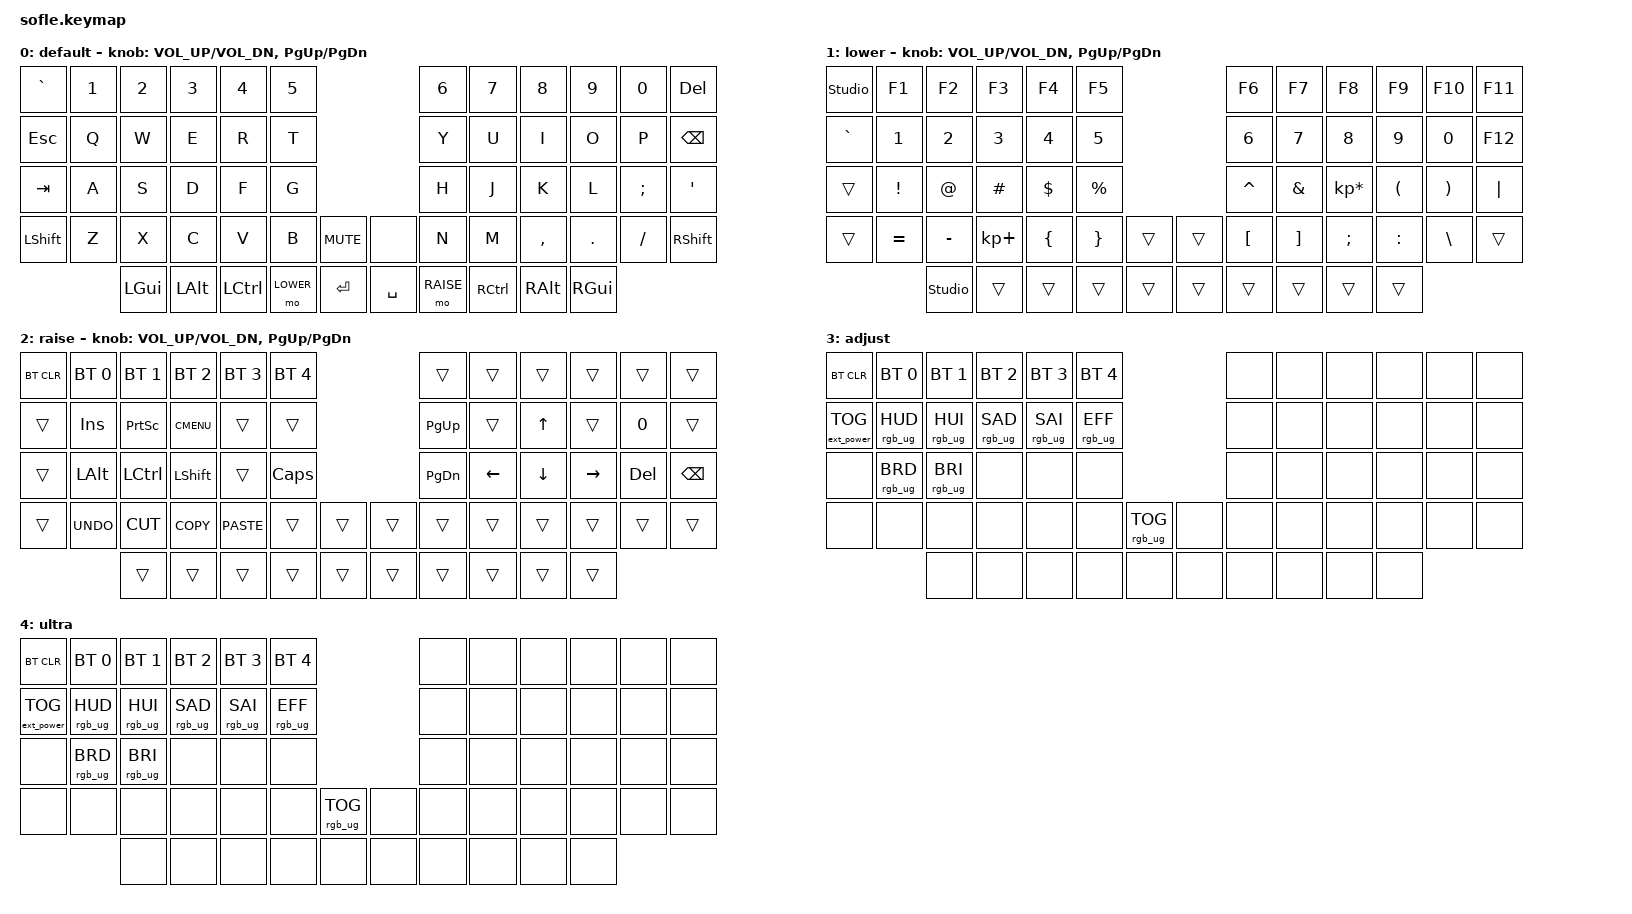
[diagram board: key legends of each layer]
/*
 * Copyright (c) 2020 The ZMK Contributors
 *
 * SPDX-License-Identifier: MIT
 */

#include <behaviors.dtsi>
#include <dt-bindings/zmk/bt.h>
#include <dt-bindings/zmk/ext_power.h>
#include <dt-bindings/zmk/keys.h>
#include <dt-bindings/zmk/rgb.h>
#include "zmk-helpers/helper.h"
#include "zmk-helpers/key-labels/sofle.h"

// Left-hand key positions (for use with hold-trigger-key-positions on right-hand HRMs)
#define KEYS_L LN0 LN1 LN2 LN3 LN4 LN5 LT0 LT1 LT2 LT3 LT4 LT5 LM0 LM1 LM2 LM3 LM4 LM5 LB0 LB1 LB2 LB3 LB4 LB5 LH0 LH1 LH2 LH3 LH4
// Right-hand key positions (for use with hold-trigger-key-positions on left-hand HRMs)
#define KEYS_R RN0 RN1 RN2 RN3 RN4 RN5 RT0 RT1 RT2 RT3 RT4 RT5 RM0 RM1 RM2 RM3 RM4 RM5 RB0 RB1 RB2 RB3 RB4 RB5 RH0 RH1 RH2 RH3 RH4

#define BASE 0
#define LOWER 1
#define RAISE 2
#define ADJUST 3
#define ULTRA 4


/ {
    // Activate ADJUST layer by pressing raise and lower

    conditional_layers {
        compatible = "zmk,conditional-layers";

        adjust_layer {
            if-layers = <LOWER RAISE>;
            then-layer = <ADJUST>;
        };
    };
  
    behaviors {
        hml: home_row_mod_left {
            compatible = "zmk,behavior-hold-tap";
            #binding-cells = <2>;
            flavor = "balanced";
            require-prior-idle-ms = <150>;
            tapping-term-ms = <280>;
            quick-tap-ms = <175>;
            bindings = <&kp>, <&kp>;
            hold-trigger-key-positions = <KEYS_R>; // List of keys on the right side of the keyboard
            hold-trigger-on-release;
        };
        hmr: home_row_mod_right {
            compatible = "zmk,behavior-hold-tap";
            #binding-cells = <2>;
            flavor = "balanced";
            require-prior-idle-ms = <150>;
            tapping-term-ms = <280>;
            quick-tap-ms = <175>;
            bindings = <&kp>, <&kp>;
            hold-trigger-key-positions = <KEYS_L>; // List of keys on the left side of the keyboard
            hold-trigger-on-release;
        };
    };
    keymap {
        compatible = "zmk,keymap";

        default_layer {
            label = "default";

            // ------------------------------------------------------------------------------------------------------------
            // |   `   |  1  |  2  |  3   |  4   |  5   |                   |  6   |  7    |  8    |  9   |   0   |       |
            // |  ESC  |  Q  |  W  |  E   |  R   |  T   |                   |  Y   |  U    |  I    |  O   |   P   | BKSPC |
            // |  TAB  |  A  |  S  |  D   |  F   |  G   |                   |  H   |  J    |  K    |  L   |   ;   |   '   |
            // | SHIFT |  Z  |  X  |  C   |  V   |  B   |  MUTE  |  |       |  N   |  M    |  ,    |  .   |   /   | SHIFT |
            //               | GUI | ALT  | CTRL | LOWER|  ENTER |  | SPACE | RAISE| CTRL  | ALT   | GUI  |

            bindings = <
&kp GRAVE  &kp N1  &kp N2    &kp N3    &kp N4     &kp N5                              &kp N6     &kp N7     &kp N8     &kp N9    &kp N0    &kp DELETE
&kp ESC    &kp Q   &kp W     &kp E     &kp R      &kp T                               &kp Y      &kp U      &kp I      &kp O     &kp P     &kp BSPC
&kp TAB    &kp A   &kp S     &kp D     &kp F      &kp G                               &kp H      &kp J      &kp K      &kp L     &kp SEMI  &kp SQT
&kp LSHFT  &kp Z   &kp X     &kp C     &kp V      &kp B      &kp C_MUTE    &none      &kp N      &kp M      &kp COMMA  &kp DOT   &kp FSLH  &kp RSHFT
                   &kp LGUI  &kp LALT  &kp LCTRL  &mo LOWER  &kp RET       &kp SPACE  &mo RAISE  &kp RCTRL  &kp RALT   &kp RGUI
            >;

            sensor-bindings = <&inc_dec_kp C_VOL_UP C_VOL_DN &inc_dec_kp PG_UP PG_DN>;
        };

        lower_layer {
            label = "lower";

            // TODO: Some binds are waiting for shifted keycode support.
            // ------------------------------------------------------------------------------------------------------------
            // |       |  F1 |  F2 |  F3  |  F4  |  F5  |                   |  F6  |  F7   |  F8   |  F9  |  F10  |  F11  |
            // |   `   |  1  |  2  |  3   |  4   |  5   |                   |  6   |  7    |  8    |  9   |   0   |  F12  |
            // |       |  !  |  @  |  #   |  $   |  %   |                   |  ^   |  &    |  *    |  (   |   )   |   |   |
            // |       |  =  |  -  |  +   |  {   |  }   |        |  |       |  [   |  ]    |  ;    |  :   |   \   |       |
            //               |     |      |      |      |        |  |       |      |       |       |      |

            bindings = <
&studio_unlock     &kp F1     &kp F2     &kp F3       &kp F4    &kp F5                       &kp F6     &kp F7    &kp F8           &kp F9     &kp F10   &kp F11
&kp GRAVE  &kp N1     &kp N2     &kp N3       &kp N4    &kp N5                       &kp N6     &kp N7    &kp N8           &kp N9     &kp N0    &kp F12
&trans     &kp EXCL   &kp AT     &kp HASH     &kp DLLR  &kp PRCNT                    &kp CARET  &kp AMPS  &kp KP_MULTIPLY  &kp LPAR   &kp RPAR  &kp PIPE
&trans     &kp EQUAL  &kp MINUS  &kp KP_PLUS  &kp LBRC  &kp RBRC   &trans    &trans  &kp LBKT   &kp RBKT  &kp SEMI         &kp COLON  &kp BSLH  &trans
                      &studio_unlock     &trans       &trans    &trans     &trans    &trans  &trans     &trans    &trans           &trans
            >;

            sensor-bindings = <&inc_dec_kp C_VOL_UP C_VOL_DN &inc_dec_kp PG_UP PG_DN>;
        };

        raise_layer {
            label = "raise";

            // ------------------------------------------------------------------------------------------------------------
            // | BTCLR | BT1  | BT2  |  BT3  |  BT4  |  BT5 |                |      |      |       |      |       |       |
            // |       | INS  | PSCR | GUI   |       |      |                | PGUP |      |   ^   |      |       |       |
            // |       | ALT  | CTRL | SHIFT |       | CAPS |                | PGDN |   <- |   v   |  ->  |  DEL  | BKSPC |
            // |       | UNDO | CUT  | COPY  | PASTE |      |      |  |      |      |      |       |      |       |       |
            //                |      |       |       |      |      |  |      |      |      |       |      |

            bindings = <
&bt BT_CLR  &bt BT_SEL 0  &bt BT_SEL 1  &bt BT_SEL 2  &bt BT_SEL 3  &bt BT_SEL 4                    &trans     &trans    &trans    &trans     &trans   &trans
&trans      &kp INS       &kp PSCRN     &kp K_CMENU   &trans        &trans                          &kp PG_UP  &trans    &kp UP    &trans     &kp N0   &trans
&trans      &kp LALT      &kp LCTRL     &kp LSHFT     &trans        &kp CLCK                        &kp PG_DN  &kp LEFT  &kp DOWN  &kp RIGHT  &kp DEL  &kp BSPC
&trans      &kp K_UNDO    &kp K_CUT     &kp K_COPY    &kp K_PASTE   &trans        &trans    &trans  &trans     &trans    &trans    &trans     &trans   &trans
                          &trans        &trans        &trans        &trans        &trans    &trans  &trans     &trans    &trans    &trans
            >;

            sensor-bindings = <&inc_dec_kp C_VOL_UP C_VOL_DN &inc_dec_kp PG_UP PG_DN>;
        };

        adjust_layer {
            // ----------------------------------------------------------------------------------------------------------------------------
            // | BTCLR  |  BT1    |  BT2    |   BT3   |   BT4   |   BT5   |                  |      |      |       |      |       |       |
            // | EXTPWR | RGB_HUD | RGB_HUI | RGB_SAD | RGB_SAI | RGB_EFF |                  |      |      |       |      |       |       |
            // |        | RGB_BRD | RGB_BRI |         |         |         |                  |      |      |       |      |       |       |
            // |        |         |         |         |         |         | RGB_TOG | |      |      |      |       |      |       |       |
            //                    |         |         |         |         |         | |      |      |      |       |      |

            label = "adjust";
            bindings = <
&bt BT_CLR         &bt BT_SEL 0     &bt BT_SEL 1     &bt BT_SEL 2     &bt BT_SEL 3     &bt BT_SEL 4                               &none  &none  &none  &none  &none  &none
&ext_power EP_TOG  &rgb_ug RGB_HUD  &rgb_ug RGB_HUI  &rgb_ug RGB_SAD  &rgb_ug RGB_SAI  &rgb_ug RGB_EFF                            &none  &none  &none  &none  &none  &none
&none              &rgb_ug RGB_BRD  &rgb_ug RGB_BRI  &none            &none            &none                                      &none  &none  &none  &none  &none  &none
&none              &none            &none            &none            &none            &none            &rgb_ug RGB_TOG    &none  &none  &none  &none  &none  &none  &none
                                    &none            &none            &none            &none            &none              &none  &none  &none  &none  &none
            >;
        };
        ultra_layer{
            // ----------------------------------------------------------------------------------------------------------------------------
            // | BTCLR  |  BT1    |  BT2    |   BT3   |   BT4   |   BT5   |                  |      |      |       |      |       |       |
            // | EXTPWR | RGB_HUD | RGB_HUI | RGB_SAD | RGB_SAI | RGB_EFF |                  |      |      |       |      |       |       |
            // |        | RGB_BRD | RGB_BRI |         |         |         |                  |      |      |       |      |       |       |
            // |        |         |         |         |         |         | RGB_TOG | |      |      |      |       |      |       |       |
            //                    |         |         |         |         |         | |      |      |      |       |      |

            label = "ultra";
            bindings = <
&bt BT_CLR         &bt BT_SEL 0     &bt BT_SEL 1     &bt BT_SEL 2     &bt BT_SEL 3     &bt BT_SEL 4                               &none  &none  &none  &none  &none  &none
&ext_power EP_TOG  &rgb_ug RGB_HUD  &rgb_ug RGB_HUI  &rgb_ug RGB_SAD  &rgb_ug RGB_SAI  &rgb_ug RGB_EFF                            &none  &none  &none  &none  &none  &none
&none              &rgb_ug RGB_BRD  &rgb_ug RGB_BRI  &none            &none            &none                                      &none  &none  &none  &none  &none  &none
&none              &none            &none            &none            &none            &none            &rgb_ug RGB_TOG    &none  &none  &none  &none  &none  &none  &none
                                    &none            &none            &none            &none            &none              &none  &none  &none  &none  &none
            >;
        };
    };
};
